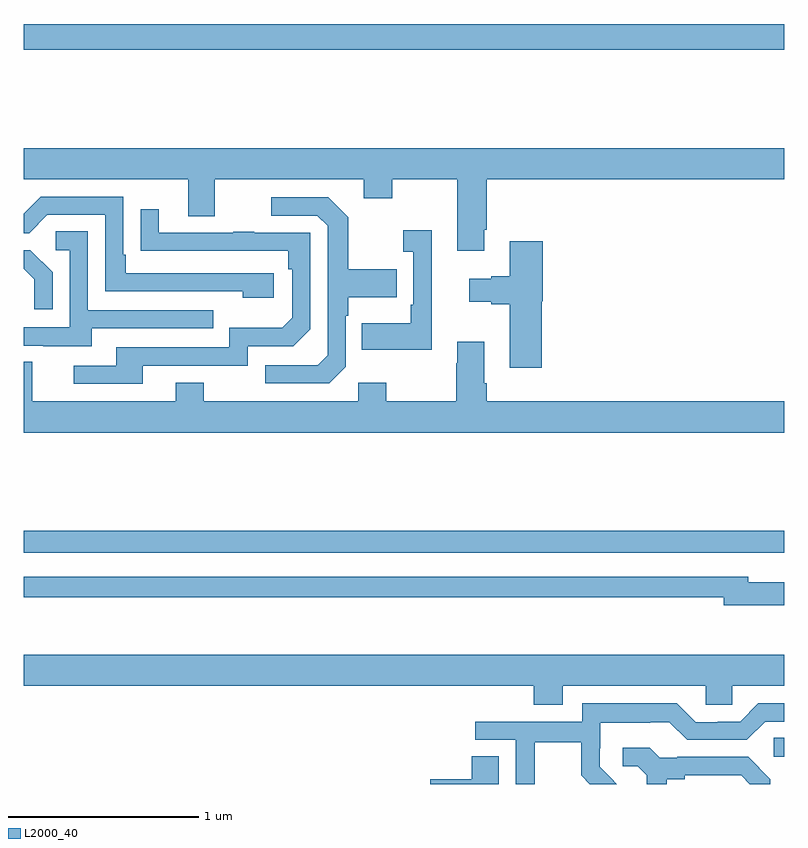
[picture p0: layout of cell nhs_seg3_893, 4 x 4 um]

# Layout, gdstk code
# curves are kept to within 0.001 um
import gdstk
lib = gdstk.Library(unit=1e-6, precision=1e-09)
def R(c, l, rs):  # rectangles x0, y0, x1, y1
    for r in rs: c.add(gdstk.rectangle(r[:2], r[2:], *l))
def P(c, l, *ps):  # polygons
    for p in ps: c.add(gdstk.Polygon(p, *l))
L2000_40 = (2000, 40)

nhs_seg3_893 = lib.new_cell('nhs_seg3_893')
R(nhs_seg3_893, L2000_40, [(160.944,700.542,161,700.643), (157,704.26,161,704.396)])
P(nhs_seg3_893, L2000_40, [(159.421,703.315),(159.434,703.315),(159.434,703.58),(161,703.58),(161,703.744),(157,703.744),(157,703.58),(157.865,703.58),(157.865,703.386),(158.005,703.386),(158.005,703.58),(158.789,703.58),(158.789,703.481),(158.937,703.481),(158.937,703.58),(159.281,703.58),(159.281,703.203),(159.421,703.203)],
  [(158.314,703.086),(157.537,703.086),(157.537,703.183),(157.524,703.183),(157.524,703.488),(157.089,703.488),(157,703.399),(157,703.296),(157.029,703.296),(157.125,703.392),(157.428,703.392),(157.428,702.99),(158.153,702.99),(158.153,702.956),(158.314,702.956)],
  [(158.694,702.594),(158.694,702.863),(158.707,702.863),(158.707,702.959),(158.963,702.959),(158.963,703.107),(158.707,703.107),(158.707,703.379),(158.601,703.485),(158.301,703.485),(158.301,703.389),(158.544,703.389),(158.598,703.335),(158.598,702.654),(158.547,702.603),(158.271,702.603),(158.271,702.507),(158.607,702.507)],
  [(157.627,702.6),(158.178,702.6),(158.178,702.702),(158.418,702.702),(158.508,702.792),(158.508,703.299),(158.213,703.299),(158.213,703.304),(158.101,703.304),(158.101,703.299),(157.711,703.299),(157.711,703.423),(157.615,703.423),(157.615,703.204),(158.392,703.203),(158.392,703.106),(158.412,703.106),(158.412,702.852),(158.359,702.799),(158.082,702.799),(158.082,702.696),(157.487,702.696),(157.487,702.6),(157.263,702.6),(157.263,702.504),(157.627,702.504)],
  [(159.146,703.312),(158.997,703.312),(158.997,703.199),(159.048,703.199),(159.048,702.919),(159.036,702.919),(159.036,702.823),(158.779,702.823),(158.779,702.683),(159.146,702.683)],
  [(157.357,702.795),(157.997,702.795),(157.997,702.891),(157.338,702.891),(157.338,703.307),(157.17,703.307),(157.17,703.206),(157.242,703.206),(157.242,702.801),(157,702.801),(157,702.705),(157.103,702.705),(157.103,702.701),(157.357,702.701)],
  [(159.725,702.939),(159.73,702.939),(159.73,703.255),(159.557,703.255),(159.557,703.07),(159.458,703.07),(159.458,703.057),(159.342,703.057),(159.342,702.935),(159.458,702.935),(159.458,702.923),(159.557,702.923),(159.557,702.588),(159.725,702.588)],
  [(157.152,703.09),(157.036,703.206),(157,703.206),(157,703.108),(157.055,703.053),(157.055,702.897),(157.152,702.897)],
  [(161,702.412),(159.434,702.412),(159.434,702.508),(159.421,702.508),(159.421,702.724),(159.281,702.724),(159.281,702.611),(159.274,702.611),(159.274,702.412),(158.907,702.412),(158.907,702.511),(158.76,702.511),(158.76,702.412),(157.947,702.412),(157.947,702.511),(157.799,702.511),(157.799,702.412),(157.045,702.412),(157.045,702.62),(157,702.62),(157,702.248),(161,702.248)],
  [(161,701.732),(157,701.732),(157,701.616),(160.906,701.616),(160.906,701.615),(161,701.615)],
  [(161,701.461),(160.81,701.461),(160.81,701.49),(157,701.49),(157,701.382),(160.682,701.382),(160.682,701.339),(161,701.339)],
  [(159.835,700.916),(160.587,700.916),(160.587,700.818),(160.725,700.818),(160.725,700.916),(161,700.916),(161,701.08),(157,701.08),(157,700.916),(159.683,700.916),(159.683,700.817),(159.835,700.817)],
  [(159.687,700.62),(159.931,700.62),(159.931,700.445),(159.976,700.4),(160.118,700.4),(160.103,700.415),(160.104,700.416),(160.03,700.49),(160.03,700.587),(160.032,700.587),(160.032,700.721),(160.295,700.721),(160.295,700.725),(160.395,700.725),(160.488,700.632),(160.803,700.632),(160.899,700.728),(161,700.728),(161,700.824),(160.863,700.824),(160.767,700.728),(160.649,700.728),(160.649,700.725),(160.533,700.725),(160.433,700.825),(159.936,700.825),(159.936,700.728),(159.375,700.728),(159.375,700.632),(159.588,700.632),(159.588,700.4),(159.687,700.4)],
  [(160.381,700.424),(160.477,700.424),(160.477,700.446),(160.772,700.446),(160.818,700.4),(160.926,700.4),(160.926,700.426),(160.81,700.542),(160.438,700.542),(160.438,700.539),(160.344,700.539),(160.292,700.591),(160.149,700.591),(160.149,700.494),(160.23,700.494),(160.277,700.447),(160.277,700.4),(160.381,700.4)],
  [(159.499,700.547),(159.356,700.547),(159.356,700.424),(159.138,700.424),(159.138,700.4),(159.499,700.4)])

lib.write_gds('nhs_seg3_893.gds')
